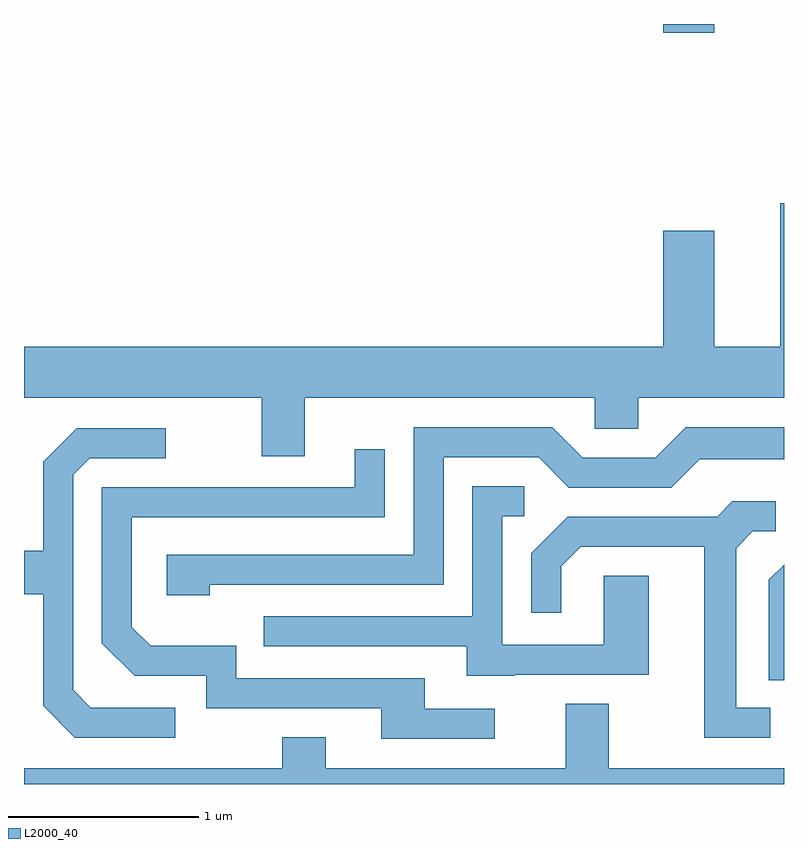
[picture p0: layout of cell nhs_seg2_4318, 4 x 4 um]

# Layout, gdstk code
import gdstk
lib = gdstk.Library(unit=1e-6, precision=1e-09)
def R(c, l, rs):  # rectangles x0, y0, x1, y1
    for r in rs: c.add(gdstk.rectangle(r[:2], r[2:], *l))
def P(c, l, *ps):  # polygons
    for p in ps: c.add(gdstk.Polygon(p, *l))
L2000_40 = (2000, 40)

nhs_seg2_4318 = lib.new_cell('nhs_seg2_4318')
R(nhs_seg2_4318, L2000_40, [(314.976,1085.756,315.244,1085.802)])
P(nhs_seg2_4318, L2000_40, [(313.089,1083.836),(314.616,1083.836),(314.616,1083.671),(314.844,1083.671),(314.844,1083.836),(315.611,1083.836),(315.611,1084.859),(315.591,1084.859),(315.591,1084.104),(315.244,1084.104),(315.244,1084.714),(314.976,1084.714),(314.976,1084.104),(311.611,1084.104),(311.611,1083.836),(312.861,1083.836),(312.861,1083.526),(313.089,1083.526)],
  [(312.589,1082.851),(313.819,1082.851),(313.819,1083.521),(314.319,1083.521),(314.479,1083.361),(315.017,1083.361),(315.167,1083.511),(315.611,1083.511),(315.611,1083.679),(315.094,1083.679),(314.934,1083.519),(314.552,1083.519),(314.392,1083.679),(313.661,1083.679),(313.661,1083.009),(312.361,1083.009),(312.361,1082.796),(312.589,1082.796)],
  [(312.408,1082.204),(311.962,1082.204),(311.869,1082.297),(311.869,1083.429),(311.957,1083.516),(312.358,1083.516),(312.358,1083.674),(311.889,1083.674),(311.711,1083.497),(311.711,1083.029),(311.611,1083.029),(311.611,1082.801),(311.711,1082.801),(311.711,1082.214),(311.879,1082.046),(312.408,1082.046)],
  [(314.088,1082.199),(313.719,1082.199),(313.719,1082.359),(312.729,1082.359),(312.729,1082.529),(312.277,1082.529),(312.179,1082.627),(312.179,1083.206),(313.509,1083.206),(313.509,1083.563),(313.351,1083.563),(313.351,1083.364),(312.021,1083.364),(312.021,1082.544),(312.194,1082.371),(312.571,1082.371),(312.571,1082.201),(313.491,1082.201),(313.491,1082.041),(314.088,1082.041)],
  [(314.195,1082.376),(314.899,1082.376),(314.899,1082.899),(314.661,1082.899),(314.661,1082.534),(314.129,1082.534),(314.129,1083.211),(314.243,1083.211),(314.243,1083.369),(313.971,1083.369),(313.971,1082.684),(312.873,1082.684),(312.873,1082.526),(313.941,1082.526),(313.941,1082.371),(314.195,1082.371)],
  [(315.538,1082.204),(315.359,1082.204),(315.359,1083.044),(315.447,1083.131),(315.568,1083.131),(315.568,1083.289),(315.339,1083.289),(315.259,1083.209),(314.474,1083.209),(314.281,1083.017),(314.281,1082.703),(314.439,1082.703),(314.439,1082.949),(314.542,1083.051),(315.191,1083.051),(315.191,1082.046),(315.538,1082.046)],
  [(315.611,1082.957),(315.531,1082.877),(315.531,1082.348),(315.611,1082.348)],
  [(315.611,1081.884),(314.689,1081.884),(314.689,1082.224),(314.461,1082.224),(314.461,1081.884),(313.199,1081.884),(313.199,1082.049),(312.971,1082.049),(312.971,1081.884),(311.611,1081.884),(311.611,1081.802),(315.611,1081.802)])

lib.write_gds('nhs_seg2_4318.gds')
